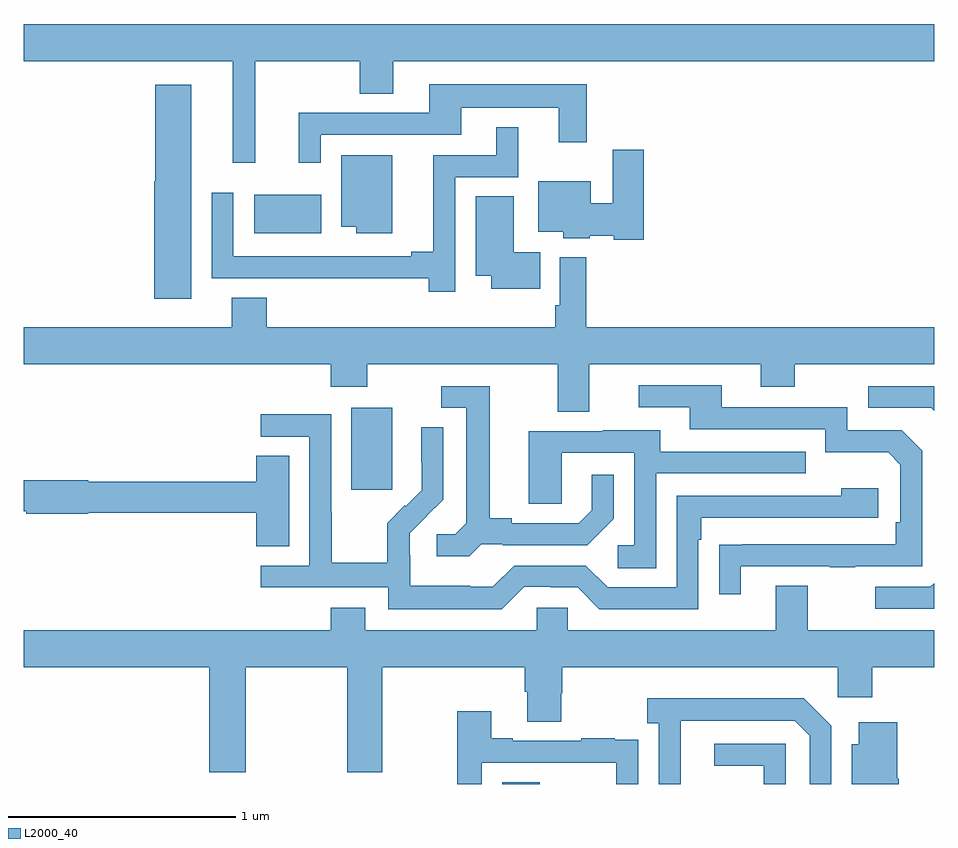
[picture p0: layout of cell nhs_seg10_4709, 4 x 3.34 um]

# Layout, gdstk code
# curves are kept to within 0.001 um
import gdstk
lib = gdstk.Library(unit=1e-6, precision=1e-09)
def R(c, l, rs):  # rectangles x0, y0, x1, y1
    for r in rs: c.add(gdstk.rectangle(r[:2], r[2:], *l))
def P(c, l, *ps):  # polygons
    for p in ps: c.add(gdstk.Polygon(p, *l))
L2000_40 = (2000, 40)

nhs_seg10_4709 = lib.new_cell('nhs_seg10_4709')
R(nhs_seg10_4709, L2000_40, [(383.102,1270.5,383.266,1270.508), (382.439,1271.793,382.618,1272.154), (382.013,1272.92,382.306,1273.09)])
P(nhs_seg10_4709, L2000_40, [(382.016,1273.676),(382.477,1273.676),(382.477,1273.534),(382.624,1273.534),(382.624,1273.676),(385,1273.676),(385,1273.84),(381,1273.84),(381,1273.676),(381.917,1273.676),(381.917,1273.23),(382.016,1273.23)],
  [(382.305,1273.353),(382.921,1273.353),(382.921,1273.472),(383.351,1273.472),(383.351,1273.32),(383.473,1273.32),(383.473,1273.576),(382.781,1273.576),(382.781,1273.449),(382.208,1273.449),(382.208,1273.23),(382.305,1273.23)],
  [(381.736,1273.573),(381.578,1273.573),(381.578,1273.149),(381.572,1273.149),(381.572,1272.633),(381.736,1272.633)],
  [(382.896,1273.167),(383.173,1273.167),(383.173,1273.387),(383.075,1273.387),(383.075,1273.263),(382.799,1273.263),(382.799,1272.839),(382.703,1272.839),(382.703,1272.819),(381.921,1272.819),(381.921,1273.099),(381.825,1273.099),(381.825,1272.723),(382.15,1272.723),(382.15,1272.722),(382.78,1272.722),(382.78,1272.663),(382.896,1272.663)],
  [(383.723,1273.288),(383.588,1273.288),(383.588,1273.052),(383.491,1273.052),(383.491,1273.15),(383.261,1273.15),(383.261,1272.926),(383.37,1272.926),(383.37,1272.899),(383.487,1272.899),(383.487,1272.91),(383.592,1272.91),(383.592,1272.892),(383.723,1272.892)],
  [(382.618,1273.264),(382.394,1273.264),(382.394,1272.95),(382.46,1272.95),(382.46,1272.92),(382.618,1272.92)],
  [(383.27,1272.838),(383.152,1272.838),(383.152,1273.082),(382.985,1273.082),(382.985,1272.734),(383.054,1272.734),(383.054,1272.677),(383.27,1272.677)],
  [(383.485,1272.344),(384.239,1272.344),(384.239,1272.245),(384.387,1272.245),(384.387,1272.344),(385,1272.344),(385,1272.508),(383.471,1272.508),(383.471,1272.814),(383.355,1272.814),(383.355,1272.604),(383.335,1272.604),(383.335,1272.508),(382.067,1272.508),(382.067,1272.638),(381.914,1272.638),(381.914,1272.508),(381,1272.508),(381,1272.344),(382.349,1272.344),(382.349,1272.245),(382.509,1272.245),(382.509,1272.344),(383.345,1272.344),(383.345,1272.136),(383.485,1272.136)],
  [(384.151,1271.457),(384.541,1271.457),(384.541,1271.452),(384.653,1271.452),(384.653,1271.457),(384.948,1271.457),(384.948,1271.964),(384.858,1272.054),(384.618,1272.054),(384.618,1272.156),(384.067,1272.156),(384.067,1272.252),(383.703,1272.252),(383.703,1272.156),(383.927,1272.156),(383.927,1272.06),(384.522,1272.06),(384.522,1271.957),(384.799,1271.957),(384.852,1271.904),(384.852,1271.65),(384.832,1271.65),(384.832,1271.553),(384.055,1271.552),(384.055,1271.334),(384.151,1271.334)],
  [(383.01,1271.553),(383.104,1271.553),(383.104,1271.55),(383.476,1271.55),(383.592,1271.666),(383.592,1271.86),(383.495,1271.86),(383.495,1271.703),(383.438,1271.646),(383.143,1271.646),(383.143,1271.669),(383.047,1271.669),(383.047,1272.249),(382.833,1272.249),(382.833,1272.153),(382.943,1272.153),(382.943,1271.645),(382.896,1271.598),(382.815,1271.598),(382.815,1271.501),(382.958,1271.501)],
  [(385,1272.249),(384.711,1272.249),(384.711,1272.153),(384.987,1272.153),(385,1272.14)],
  [(383.199,1271.367),(383.315,1271.367),(383.315,1271.364),(383.433,1271.364),(383.529,1271.268),(383.964,1271.268),(383.964,1271.573),(383.977,1271.573),(383.977,1271.67),(384.754,1271.67),(384.754,1271.8),(384.593,1271.8),(384.593,1271.766),(383.868,1271.766),(383.868,1271.364),(383.565,1271.364),(383.469,1271.46),(383.154,1271.46),(383.061,1271.367),(382.961,1271.367),(382.961,1271.371),(382.698,1271.371),(382.698,1271.505),(382.696,1271.505),(382.696,1271.602),(382.842,1271.75),(382.842,1272.068),(382.746,1272.068),(382.746,1271.914),(382.748,1271.914),(382.748,1271.792),(382.677,1271.721),(382.674,1271.724),(382.597,1271.647),(382.597,1271.473),(382.353,1271.473),(382.353,1271.696),(382.35,1271.696),(382.35,1272.126),(382.041,1272.126),(382.041,1272.027),(382.254,1272.027),(382.254,1271.46),(382.041,1271.46),(382.041,1271.364),(382.602,1271.364),(382.602,1271.267),(383.099,1271.267)],
  [(383.778,1271.865),(384.437,1271.865),(384.437,1271.961),(383.797,1271.961),(383.797,1272.055),(383.543,1272.055),(383.543,1272.051),(383.219,1272.051),(383.219,1271.731),(383.364,1271.731),(383.364,1271.955),(383.682,1271.955),(383.682,1271.55),(383.61,1271.55),(383.61,1271.449),(383.778,1271.449)],
  [(382.165,1271.942),(382.022,1271.942),(382.022,1271.828),(381.282,1271.828),(381.282,1271.834),(381,1271.834),(381,1271.699),(381.01,1271.699),(381.01,1271.687),(381.282,1271.687),(381.282,1271.692),(382.022,1271.692),(382.022,1271.545),(382.165,1271.545)],
  [(385,1271.383),(384.984,1271.367),(384.741,1271.367),(384.741,1271.271),(385,1271.271)],
  [(381.975,1271.012),(382.42,1271.012),(382.42,1270.551),(382.575,1270.551),(382.575,1271.012),(383.201,1271.012),(383.201,1270.906),(383.213,1270.906),(383.213,1270.774),(383.361,1270.774),(383.361,1270.899),(383.366,1270.899),(383.366,1271.012),(384.576,1271.012),(384.576,1270.881),(384.728,1270.881),(384.728,1271.012),(385,1271.012),(385,1271.176),(384.445,1271.176),(384.445,1271.371),(384.305,1271.371),(384.305,1271.176),(383.391,1271.176),(383.391,1271.274),(383.253,1271.274),(383.253,1271.176),(382.501,1271.176),(382.501,1271.275),(382.349,1271.275),(382.349,1271.176),(381,1271.176),(381,1271.012),(381.815,1271.012),(381.815,1270.551),(381.975,1270.551)],
  [(383.886,1270.579),(383.887,1270.779),(384.387,1270.779),(384.453,1270.713),(384.453,1270.5),(384.549,1270.5),(384.549,1270.755),(384.428,1270.876),(383.739,1270.876),(383.739,1270.766),(383.79,1270.766),(383.79,1270.5),(383.886,1270.5)],
  [(383.013,1270.593),(383.604,1270.593),(383.604,1270.5),(383.7,1270.5),(383.7,1270.586),(383.699,1270.586),(383.699,1270.695),(383.597,1270.695),(383.597,1270.702),(383.449,1270.702),(383.449,1270.689),(383.149,1270.689),(383.149,1270.702),(383.053,1270.702),(383.053,1270.819),(382.905,1270.819),(382.905,1270.5),(383.013,1270.5)],
  [(384.845,1270.522),(384.839,1270.522),(384.839,1270.771),(384.668,1270.771),(384.668,1270.675),(384.638,1270.675),(384.638,1270.5),(384.845,1270.5)],
  [(384.348,1270.677),(384.033,1270.677),(384.033,1270.581),(384.252,1270.581),(384.252,1270.5),(384.348,1270.5)])

lib.write_gds('nhs_seg10_4709.gds')
